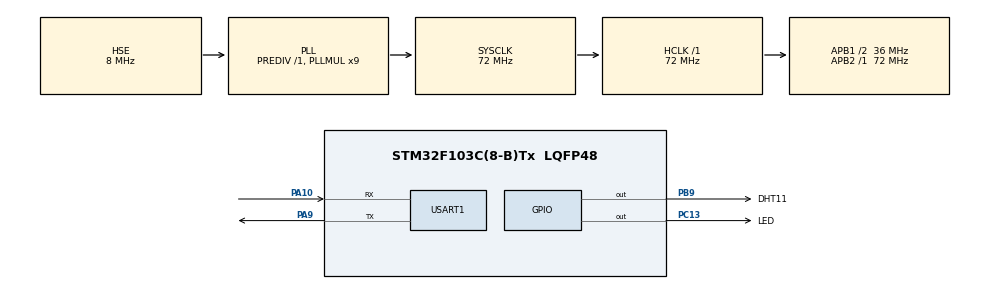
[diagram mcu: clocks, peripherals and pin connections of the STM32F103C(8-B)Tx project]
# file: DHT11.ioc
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Mcu.Family=STM32F1
Mcu.Name=STM32F103C(8-B)Tx
Mcu.Package=LQFP48
NVIC.PriorityGroup=NVIC_PRIORITYGROUP_4
NVIC.USART1_IRQn=true\:1\:0\:true\:false\:true\:true\:true\:true
PA10.Mode=Asynchronous
PA10.Signal=USART1_RX
PA13.Mode=Serial_Wire
PA13.Signal=SYS_JTMS-SWDIO
PA14.Mode=Serial_Wire
PA14.Signal=SYS_JTCK-SWCLK
PA9.Mode=Asynchronous
PA9.Signal=USART1_TX
PB9.GPIO_Label=DHT11
PB9.Signal=GPIO_Output
PC13-TAMPER-RTC.GPIO_Label=LED
PC13-TAMPER-RTC.Signal=GPIO_Output
PD0-OSC_IN.Mode=HSE-External-Oscillator
PD0-OSC_IN.Signal=RCC_OSC_IN
PD1-OSC_OUT.Mode=HSE-External-Oscillator
PD1-OSC_OUT.Signal=RCC_OSC_OUT
ProjectManager.HeapSize=0x200
ProjectManager.StackSize=0x400
ProjectManager.TargetToolchain=STM32CubeIDE
RCC.AHBFreq_Value=72000000
RCC.APB1CLKDivider=RCC_HCLK_DIV2
RCC.APB1Freq_Value=36000000
RCC.APB1TimFreq_Value=72000000
RCC.APB2Freq_Value=72000000
RCC.APB2TimFreq_Value=72000000
RCC.HCLKFreq_Value=72000000
RCC.PLLMUL=RCC_PLL_MUL9
RCC.PLLSourceVirtual=RCC_PLLSOURCE_HSE
RCC.SYSCLKFreq_VALUE=72000000
RCC.SYSCLKSource=RCC_SYSCLKSOURCE_PLLCLK
RCC.USBFreq_Value=72000000
TIM4.Period=0xffff-1
TIM4.Prescaler=72-1
USART1.VirtualMode=VM_ASYNC
VP_TIM4_VS_ClockSourceINT.Mode=Internal
board=custom

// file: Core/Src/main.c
/* USER CODE BEGIN Header */
/**
  ******************************************************************************
  * @file           : main.c
  * @brief          : Main program body
  ******************************************************************************
  * @attention
  *
  * Copyright (c) 2023 STMicroelectronics.
  * All rights reserved.
  *
  * This software is licensed under terms that can be found in the LICENSE file
  * in the root directory of this software component.
  * If no LICENSE file comes with this software, it is provided AS-IS.
  *
  ******************************************************************************
  */
/* USER CODE END Header */
#include "main.h"

/* USER CODE BEGIN Includes */
#include <stdio.h>
#include <string.h>
/* USER CODE END Includes */

TIM_HandleTypeDef htim4;

UART_HandleTypeDef huart1;

uint8_t buffer[30];

uint8_t Rh_byte1, Rh_byte2, Temp_byte1, Temp_byte2;
uint16_t SUM;

float Temperature = 0;
float Humidity = 0;
uint8_t Presence = 0;

void SystemClock_Config(void);
static void MX_GPIO_Init(void);
static void MX_TIM4_Init(void);
static void MX_USART1_UART_Init(void);

/* USER CODE BEGIN PFP */

void DELAY_TIM_Us(uint16_t time)
{
	__HAL_TIM_SET_COUNTER(&htim4,0);
	while(__HAL_TIM_GET_COUNTER(&htim4)<time){}
}

void DELAY_TIM_Ms(uint16_t Time)
{

	while(Time--)
	{
		DELAY_TIM_Us(1000);
	}
}
/* USER CODE END PFP */

/* USER CODE BEGIN 0 */

void Uart_Send_String (const char *s){
	  memset(buffer, 0, sizeof(buffer));
	  sprintf((char*)buffer, s);
	  HAL_UART_Transmit(&huart1,buffer,strlen((char*)buffer) , 100);
}

void Uart_Send_Float (float value){
	  memset(buffer, 0, sizeof(buffer));
	  sprintf((char*)buffer,"%0.3f\n",value);
	  HAL_UART_Transmit(&huart1,buffer,strlen((char*)buffer) , 100);
}

static void Set_Pin_Output()
{
	GPIO_InitTypeDef GPIO_InitStruct = {0};
	GPIO_InitStruct.Pin = DHT11_Pin;
	GPIO_InitStruct.Mode = GPIO_MODE_OUTPUT_PP;
	GPIO_InitStruct.Speed = GPIO_SPEED_FREQ_LOW;
	HAL_GPIO_Init(DHT11_GPIO_Port, &GPIO_InitStruct);
}

static void Set_Pin_Input()
{
	GPIO_InitTypeDef GPIO_InitStruct = {0};
	GPIO_InitStruct.Pin = DHT11_Pin;
	GPIO_InitStruct.Mode = GPIO_MODE_INPUT;
	GPIO_InitStruct.Pull = GPIO_PULLUP;
	HAL_GPIO_Init(DHT11_GPIO_Port, &GPIO_InitStruct);
}

void DHT11_Start (void)
{
	Set_Pin_Output();// set the pin as output
	HAL_GPIO_WritePin (DHT11_GPIO_Port, DHT11_Pin, 0);   // pull the pin low
	DELAY_TIM_Ms (18);   // wait for 18ms
	Set_Pin_Input();    // set as input
}
int dem=0;
uint8_t Check_Response (void)
{
	Set_Pin_Input();   // set as input
	uint8_t Response = 0;
	DELAY_TIM_Us (40);
	if (!(HAL_GPIO_ReadPin (DHT11_GPIO_Port, DHT11_Pin)))
	{
		  dem++;
		DELAY_TIM_Us (80);
		if ((HAL_GPIO_ReadPin (DHT11_GPIO_Port, DHT11_Pin))) Response = 1;
		else Response = -1;
	}
	while ((HAL_GPIO_ReadPin (DHT11_GPIO_Port, DHT11_Pin))); // wait for the pin to go low

	return Response;
}

uint8_t DHT11_Read (void)
{
	uint8_t value = 0,j;
	for (j=0;j<8;j++)
	{
		while (!(HAL_GPIO_ReadPin (DHT11_GPIO_Port, DHT11_Pin)));   // wait for the pin to go high
		DELAY_TIM_Us (40);   // wait for 40 us
		if (!(HAL_GPIO_ReadPin (DHT11_GPIO_Port, DHT11_Pin)))   // if the pin is low
		{
			value&= ~(1<<(7-j));   // write 0
		}
		else value|= (1<<(7-j));  // if the pin is high, write 1
		while ((HAL_GPIO_ReadPin (DHT11_GPIO_Port, DHT11_Pin)));  // wait for the pin to go low
	}
	return value;
}

void DHT11_ReadTempHumi (void){

	  DHT11_Start();
	  Presence = Check_Response();
	  if(Presence){
		  Rh_byte1 = DHT11_Read ();
		  Rh_byte2 = DHT11_Read ();
		  Temp_byte1 = DHT11_Read ();
		  Temp_byte2 = DHT11_Read ();
		  SUM = DHT11_Read();
		  if(SUM == ((Rh_byte1 + Rh_byte2 + Temp_byte1 + Temp_byte2) & 0xFF)){
			  Temperature = Temp_byte1 + (float)Temp_byte2 *0.1;
			  Humidity = Rh_byte1 + (float)Rh_byte2 *0.1;
		  }
		  else{
			  Uart_Send_String("ERROR_CHECKSUM\n");
		  }
	  }
	  else{
		  Uart_Send_String("TIMEOUT_DURATION\n");
	  }
}

/* USER CODE END 0 */

int main(void)
{

  /* MCU Configuration--------------------------------------------------------*/

  /* Reset of all peripherals, Initializes the Flash interface and the Systick. */
  HAL_Init();

  /* Configure the system clock */
  SystemClock_Config();

  /* Initialize all configured peripherals */
  MX_GPIO_Init();
  MX_TIM4_Init();
  MX_USART1_UART_Init();
  /* USER CODE BEGIN 2 */
  HAL_TIM_Base_Start(&htim4);
  /* USER CODE END 2 */

  /* Infinite loop */
  while (1)
  {

    /* USER CODE BEGIN 3 */
	  HAL_GPIO_TogglePin(LED_GPIO_Port, LED_Pin);
	  DHT11_ReadTempHumi();
	  DELAY_TIM_Ms(1000);
  }
  /* USER CODE END 3 */
}

void SystemClock_Config(void)
{
  RCC_OscInitTypeDef RCC_OscInitStruct = {0};
  RCC_ClkInitTypeDef RCC_ClkInitStruct = {0};

  /** Initializes the RCC Oscillators according to the specified parameters
  * in the RCC_OscInitTypeDef structure.
  */
  RCC_OscInitStruct.OscillatorType = RCC_OSCILLATORTYPE_HSE;
  RCC_OscInitStruct.HSEState = RCC_HSE_ON;
  RCC_OscInitStruct.HSEPredivValue = RCC_HSE_PREDIV_DIV1;
  RCC_OscInitStruct.HSIState = RCC_HSI_ON;
  RCC_OscInitStruct.PLL.PLLState = RCC_PLL_ON;
  RCC_OscInitStruct.PLL.PLLSource = RCC_PLLSOURCE_HSE;
  RCC_OscInitStruct.PLL.PLLMUL = RCC_PLL_MUL9;
  if (HAL_RCC_OscConfig(&RCC_OscInitStruct) != HAL_OK)
  {
    Error_Handler();
  }

  /** Initializes the CPU, AHB and APB buses clocks
  */
  RCC_ClkInitStruct.ClockType = RCC_CLOCKTYPE_HCLK|RCC_CLOCKTYPE_SYSCLK
                              |RCC_CLOCKTYPE_PCLK1|RCC_CLOCKTYPE_PCLK2;
  RCC_ClkInitStruct.SYSCLKSource = RCC_SYSCLKSOURCE_PLLCLK;
  RCC_ClkInitStruct.AHBCLKDivider = RCC_SYSCLK_DIV1;
  RCC_ClkInitStruct.APB1CLKDivider = RCC_HCLK_DIV2;
  RCC_ClkInitStruct.APB2CLKDivider = RCC_HCLK_DIV1;

  if (HAL_RCC_ClockConfig(&RCC_ClkInitStruct, FLASH_LATENCY_2) != HAL_OK)
  {
    Error_Handler();
  }
}

static void MX_TIM4_Init(void)
{

  TIM_ClockConfigTypeDef sClockSourceConfig = {0};
  TIM_MasterConfigTypeDef sMasterConfig = {0};

  htim4.Instance = TIM4;
  htim4.Init.Prescaler = 72-1;
  htim4.Init.CounterMode = TIM_COUNTERMODE_UP;
  htim4.Init.Period = 0xffff-1;
  htim4.Init.ClockDivision = TIM_CLOCKDIVISION_DIV1;
  htim4.Init.AutoReloadPreload = TIM_AUTORELOAD_PRELOAD_DISABLE;
  if (HAL_TIM_Base_Init(&htim4) != HAL_OK)
  {
    Error_Handler();
  }
  sClockSourceConfig.ClockSource = TIM_CLOCKSOURCE_INTERNAL;
  if (HAL_TIM_ConfigClockSource(&htim4, &sClockSourceConfig) != HAL_OK)
  {
    Error_Handler();
  }
  sMasterConfig.MasterOutputTrigger = TIM_TRGO_RESET;
  sMasterConfig.MasterSlaveMode = TIM_MASTERSLAVEMODE_DISABLE;
  if (HAL_TIMEx_MasterConfigSynchronization(&htim4, &sMasterConfig) != HAL_OK)
  {
    Error_Handler();
  }

}

static void MX_USART1_UART_Init(void)
{

  huart1.Instance = USART1;
  huart1.Init.BaudRate = 115200;
  huart1.Init.WordLength = UART_WORDLENGTH_8B;
  huart1.Init.StopBits = UART_STOPBITS_1;
  huart1.Init.Parity = UART_PARITY_NONE;
  huart1.Init.Mode = UART_MODE_TX_RX;
  huart1.Init.HwFlowCtl = UART_HWCONTROL_NONE;
  huart1.Init.OverSampling = UART_OVERSAMPLING_16;
  if (HAL_UART_Init(&huart1) != HAL_OK)
  {
    Error_Handler();
  }

}

static void MX_GPIO_Init(void)
{
  GPIO_InitTypeDef GPIO_InitStruct = {0};

  /* GPIO Ports Clock Enable */
  __HAL_RCC_GPIOC_CLK_ENABLE();
  __HAL_RCC_GPIOD_CLK_ENABLE();
  __HAL_RCC_GPIOA_CLK_ENABLE();
  __HAL_RCC_GPIOB_CLK_ENABLE();

  /*Configure GPIO pin Output Level */
  HAL_GPIO_WritePin(LED_GPIO_Port, LED_Pin, GPIO_PIN_RESET);

  /*Configure GPIO pin Output Level */
  HAL_GPIO_WritePin(DHT11_GPIO_Port, DHT11_Pin, GPIO_PIN_RESET);

  /*Configure GPIO pin : LED_Pin */
  GPIO_InitStruct.Pin = LED_Pin;
  GPIO_InitStruct.Mode = GPIO_MODE_OUTPUT_PP;
  GPIO_InitStruct.Pull = GPIO_NOPULL;
  GPIO_InitStruct.Speed = GPIO_SPEED_FREQ_LOW;
  HAL_GPIO_Init(LED_GPIO_Port, &GPIO_InitStruct);

  /*Configure GPIO pin : DHT11_Pin */
  GPIO_InitStruct.Pin = DHT11_Pin;
  GPIO_InitStruct.Mode = GPIO_MODE_OUTPUT_PP;
  GPIO_InitStruct.Pull = GPIO_NOPULL;
  GPIO_InitStruct.Speed = GPIO_SPEED_FREQ_LOW;
  HAL_GPIO_Init(DHT11_GPIO_Port, &GPIO_InitStruct);

}

void Error_Handler(void)
{
  __disable_irq();
  while (1)
  {
  }
}
